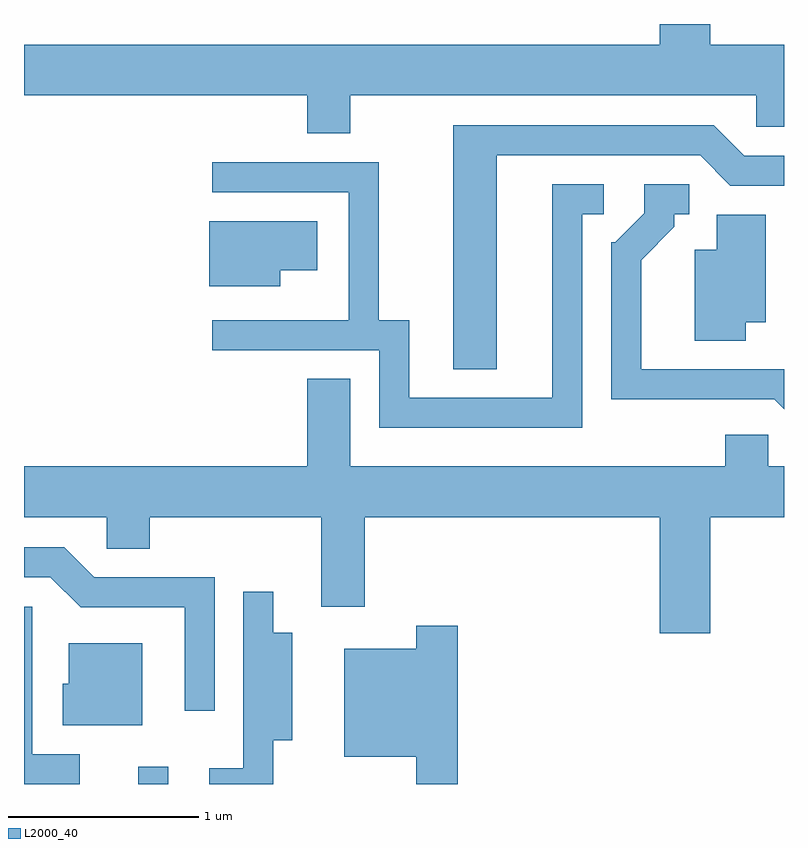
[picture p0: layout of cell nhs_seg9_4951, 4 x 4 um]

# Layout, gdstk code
import gdstk
lib = gdstk.Library(unit=1e-6, precision=1e-09)
def R(c, l, rs):  # rectangles x0, y0, x1, y1
    for r in rs: c.add(gdstk.rectangle(r[:2], r[2:], *l))
def P(c, l, *ps):  # polygons
    for p in ps: c.add(gdstk.Polygon(p, *l))
L2000_40 = (2000, 40)

nhs_seg9_4951 = lib.new_cell('nhs_seg9_4951')
R(nhs_seg9_4951, L2000_40, [(332.211,1970.432,332.369,1970.523)])
P(nhs_seg9_4951, L2000_40, [(333.329,1974.056),(335.466,1974.056),(335.466,1973.891),(335.611,1973.891),(335.611,1974.324),(335.224,1974.324),(335.224,1974.432),(334.956,1974.432),(334.956,1974.324),(331.611,1974.324),(331.611,1974.056),(333.101,1974.056),(333.101,1973.856),(333.329,1973.856)],
  [(334.099,1973.741),(335.169,1973.741),(335.329,1973.581),(335.611,1973.581),(335.611,1973.739),(335.402,1973.739),(335.242,1973.899),(333.871,1973.899),(333.871,1972.616),(334.099,1972.616)],
  [(334.549,1973.431),(334.663,1973.431),(334.663,1973.589),(334.391,1973.589),(334.391,1972.464),(333.639,1972.464),(333.639,1972.874),(333.479,1972.874),(333.479,1973.704),(332.603,1973.704),(332.603,1973.546),(333.321,1973.546),(333.321,1972.874),(332.603,1972.874),(332.603,1972.716),(333.481,1972.716),(333.481,1972.306),(334.549,1972.306)],
  [(335.611,1972.614),(334.859,1972.614),(334.859,1973.189),(335.034,1973.364),(335.034,1973.431),(335.113,1973.431),(335.113,1973.589),(334.876,1973.589),(334.876,1973.437),(334.724,1973.284),(334.701,1973.284),(334.701,1972.456),(335.559,1972.456),(335.611,1972.404)],
  [(335.409,1972.861),(335.514,1972.861),(335.514,1973.429),(335.256,1973.429),(335.256,1973.244),(335.141,1973.244),(335.141,1972.766),(335.409,1972.766)],
  [(332.959,1973.136),(333.154,1973.136),(333.154,1973.394),(332.586,1973.394),(332.586,1973.051),(332.959,1973.051)],
  [(335.224,1971.836),(335.611,1971.836),(335.611,1972.104),(335.529,1972.104),(335.529,1972.269),(335.301,1972.269),(335.301,1972.104),(333.329,1972.104),(333.329,1972.564),(333.101,1972.564),(333.101,1972.104),(331.611,1972.104),(331.611,1971.836),(332.046,1971.836),(332.046,1971.671),(332.274,1971.671),(332.274,1971.836),(333.176,1971.836),(333.176,1971.366),(333.404,1971.366),(333.404,1971.836),(334.956,1971.836),(334.956,1971.226),(335.224,1971.226)],
  [(332.614,1971.519),(331.982,1971.519),(331.822,1971.679),(331.611,1971.679),(331.611,1971.521),(331.749,1971.521),(331.909,1971.361),(332.456,1971.361),(332.456,1970.818),(332.614,1970.818)],
  [(332.924,1970.661),(333.024,1970.661),(333.024,1971.229),(332.924,1971.229),(332.924,1971.443),(332.766,1971.443),(332.766,1970.514),(332.586,1970.514),(332.586,1970.432),(332.924,1970.432)],
  [(331.904,1970.589),(331.654,1970.589),(331.654,1971.364),(331.611,1971.364),(331.611,1970.432),(331.904,1970.432)],
  [(333.894,1971.264),(333.676,1971.264),(333.676,1971.144),(333.296,1971.144),(333.296,1970.576),(333.676,1970.576),(333.676,1970.432),(333.894,1970.432)],
  [(332.234,1971.174),(331.846,1971.174),(331.846,1970.959),(331.816,1970.959),(331.816,1970.741),(332.234,1970.741)])

lib.write_gds('nhs_seg9_4951.gds')
